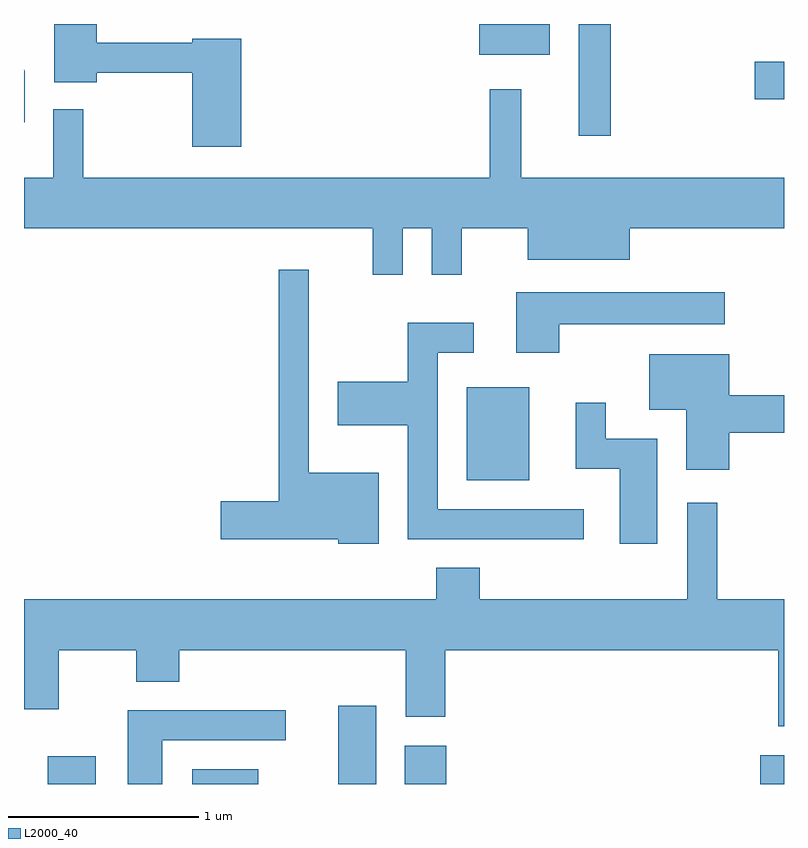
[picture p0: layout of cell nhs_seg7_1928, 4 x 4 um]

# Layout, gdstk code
import gdstk
lib = gdstk.Library(unit=1e-6, precision=1e-09)
def R(c, l, rs):  # rectangles x0, y0, x1, y1
    for r in rs: c.add(gdstk.rectangle(r[:2], r[2:], *l))
def P(c, l, *ps):  # polygons
    for p in ps: c.add(gdstk.Polygon(p, *l))
L2000_40 = (2000, 40)

nhs_seg7_1928 = lib.new_cell('nhs_seg7_1928')
R(nhs_seg7_1928, L2000_40, [(243.736,1740.252,243.989,1740.399), (244.496,1740.252,244.844,1740.329), (245.266,1740.252,245.464,1740.664), (245.616,1740.252,245.834,1740.454), (247.486,1740.252,247.611,1740.404), (245.941,1741.851,246.269,1742.339), (246.531,1743.663,246.699,1744.252), (247.456,1743.856,247.611,1744.054)])
P(nhs_seg7_1928, L2000_40, [(246.379,1744.252),(245.636,1744.252),(245.636,1744.251),(246.006,1744.251),(246.006,1744.091),(246.379,1744.091)],
  [(244.754,1744.174),(244.496,1744.174),(244.496,1744.154),(243.994,1744.154),(243.994,1744.252),(243.771,1744.252),(243.771,1743.946),(243.994,1743.946),(243.994,1743.996),(244.496,1743.996),(244.496,1743.606),(244.754,1743.606)],
  [(243.614,1744.007),(243.611,1744.01),(243.611,1743.736),(243.614,1743.736)],
  [(245.604,1743.176),(245.756,1743.176),(245.756,1742.933),(245.914,1742.933),(245.914,1743.176),(246.261,1743.176),(246.261,1743.011),(246.799,1743.011),(246.799,1743.176),(247.611,1743.176),(247.611,1743.444),(246.229,1743.444),(246.229,1743.908),(246.061,1743.908),(246.061,1743.444),(243.924,1743.444),(243.924,1743.803),(243.766,1743.803),(243.766,1743.444),(243.611,1743.444),(243.611,1743.176),(245.446,1743.176),(245.446,1742.933),(245.604,1742.933)],
  [(245.479,1741.889),(245.109,1741.889),(245.109,1742.958),(244.951,1742.958),(244.951,1741.739),(244.646,1741.739),(244.646,1741.541),(245.266,1741.541),(245.266,1741.516),(245.479,1741.516)],
  [(246.429,1742.671),(247.298,1742.671),(247.298,1742.839),(246.201,1742.839),(246.201,1742.521),(246.429,1742.521)],
  [(246.558,1741.699),(245.789,1741.699),(245.789,1742.521),(245.978,1742.521),(245.978,1742.679),(245.631,1742.679),(245.631,1742.369),(245.261,1742.369),(245.261,1742.141),(245.631,1742.141),(245.631,1741.541),(246.558,1741.541)],
  [(247.324,1742.101),(247.611,1742.101),(247.611,1742.299),(247.324,1742.299),(247.324,1742.514),(246.901,1742.514),(246.901,1742.221),(247.096,1742.221),(247.096,1741.906),(247.324,1741.906)],
  [(246.944,1742.069),(246.674,1742.069),(246.674,1742.258),(246.516,1742.258),(246.516,1741.911),(246.746,1741.911),(246.746,1741.516),(246.944,1741.516)],
  [(247.611,1741.224),(247.259,1741.224),(247.259,1741.733),(247.101,1741.733),(247.101,1741.224),(246.009,1741.224),(246.009,1741.389),(245.781,1741.389),(245.781,1741.224),(243.611,1741.224),(243.611,1740.646),(243.794,1740.646),(243.794,1740.956),(244.201,1740.956),(244.201,1740.791),(244.429,1740.791),(244.429,1740.956),(245.621,1740.956),(245.621,1740.606),(245.829,1740.606),(245.829,1740.956),(247.581,1740.956),(247.581,1740.556),(247.611,1740.556)],
  [(244.339,1740.481),(244.988,1740.481),(244.988,1740.639),(244.156,1740.639),(244.156,1740.252),(244.339,1740.252)])

lib.write_gds('nhs_seg7_1928.gds')
